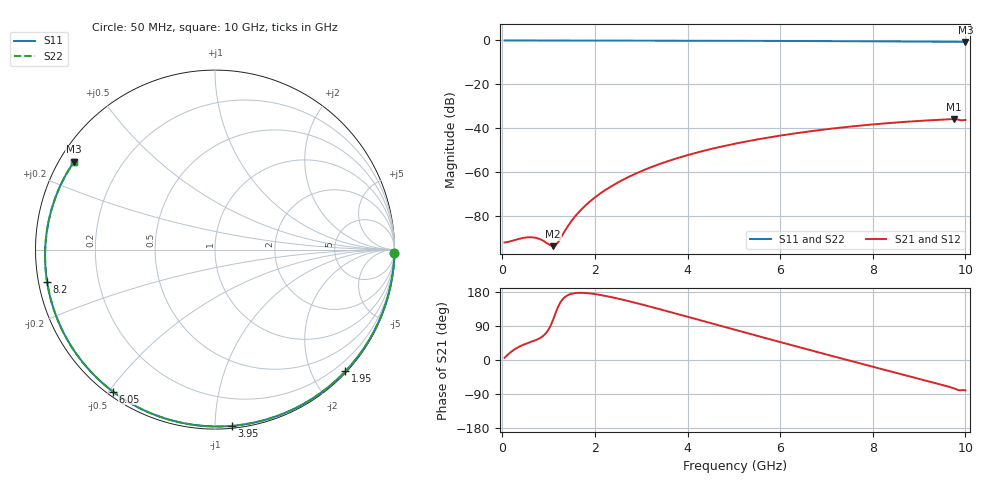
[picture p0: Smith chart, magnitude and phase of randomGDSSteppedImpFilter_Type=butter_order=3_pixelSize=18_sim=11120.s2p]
! freq	dB(S11)	phase(S11)	dB(S12)	phase(S12)
!  dB(S21)	phase(S21)	dB(S22)	phase(S22)
!S-par simulation data
#  GHz  S  DB  R 50
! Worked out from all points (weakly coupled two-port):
!   200 points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, 50 MHz to 10 GHz, reference 50 ohm
!   highest |S21| = -35.89 dB at 9.75 GHz (marker M1); lowest = -93.9 dB at 1.1 GHz (marker M2)
!   lowest |S11| = -0.7 dB at 10 GHz (marker M3), VSWR 26.26, Z = 2.06 + j14.3 ohm
!   |S11| at or under -10 dB: nowhere
!   |S22| runs from -0.7 to 0.0 dB; largest |S21 - S12| = 0
!   S11 on the Smith chart (normalised r, x): 50 MHz: open; 1.95 GHz: 0.02, -2.54; 3.95 GHz: 0.01, -1.10; 6.05 GHz: 0.02, -0.51; 8.2 GHz: 0.02, -0.10; 10 GHz: 0.04, +0.29
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0.05  -0.00 -1.1  -92.20 5.9  -92.20 5.9  -0.00 -1.1
0.55  -0.01 -12.4  -89.87 44.7  -89.87 44.7  -0.01 -12.4
1.1  -0.03 -24.6  -93.91 107.2  -93.91 107.2  -0.03 -24.6
1.55  -0.04 -34.4  -80.90 176.2  -80.90 176.2  -0.04 -34.4
1.6  -0.05 -35.5  -79.63 176.9  -79.63 176.9  -0.05 -35.5
1.75  -0.05 -38.7  -76.25 177.2  -76.25 177.2  -0.05 -38.7
1.95  -0.06 -43.1  -72.50 174.9  -72.50 174.9  -0.06 -43.1
2.25  -0.06 -49.5  -67.94 168.6  -67.94 168.6  -0.06 -49.5
2.6  -0.07 -56.9  -63.66 159.1  -63.66 159.1  -0.07 -56.9
3  -0.09 -65.2  -59.68 146.9  -59.68 146.9  -0.09 -65.2
3.4  -0.10 -73.4  -56.39 134.0  -56.39 134.0  -0.10 -73.4
3.95  -0.12 -84.6  -52.65 115.8  -52.65 115.8  -0.12 -84.6
4.5  -0.14 -95.5  -49.60 97.3  -49.60 97.3  -0.14 -95.5
5.05  -0.17 -106.3  -47.03 78.9  -47.03 78.9  -0.17 -106.3
6.05  -0.23 -125.7  -43.28 45.7  -43.28 45.7  -0.23 -125.7
6.7  -0.27 -138.4  -41.33 24.3  -41.33 24.3  -0.27 -138.4
7.5  -0.35 -154.4  -39.35 -1.7  -39.35 -1.7  -0.35 -154.4
8.2  -0.42 -169.1  -37.96 -24.1  -37.96 -24.1  -0.42 -169.0
8.35  -0.44 -172.3  -37.71 -28.9  -37.71 -28.9  -0.44 -172.3
9.05  -0.53 171.9  -36.67 -51.1  -36.67 -51.1  -0.53 171.9
9.75  -0.63 154.6  -35.89 -74.9  -35.89 -74.9  -0.63 154.7
10  -0.66 148.1  -36.28 -80.0  -36.28 -80.0  -0.66 148.2
